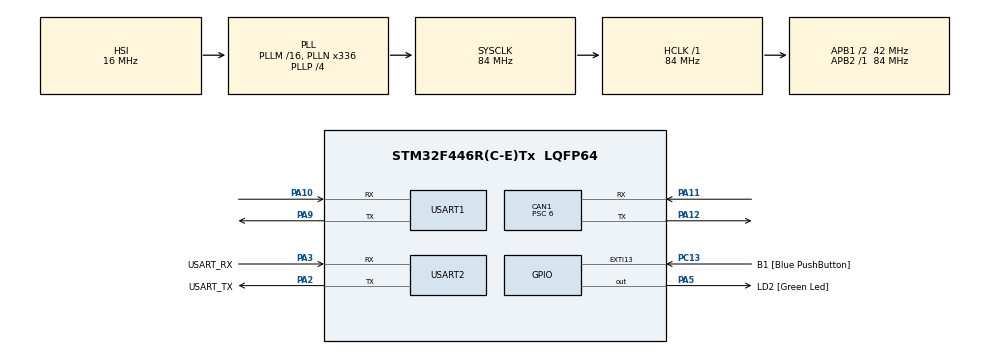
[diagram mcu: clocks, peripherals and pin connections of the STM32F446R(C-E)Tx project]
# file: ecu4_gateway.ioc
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CAN1.ABOM=ENABLE
CAN1.BS1=CAN_BS1_11TQ
CAN1.BS2=CAN_BS2_2TQ
CAN1.CalculateBaudRate=500000
CAN1.CalculateTimeBit=2000
CAN1.CalculateTimeQuantum=142.85714285714286
CAN1.Prescaler=6
Dma.Request0=USART2_TX
Dma.USART2_TX.0.Direction=DMA_MEMORY_TO_PERIPH
Dma.USART2_TX.0.FIFOMode=DMA_FIFOMODE_DISABLE
Dma.USART2_TX.0.Instance=DMA1_Stream6
Dma.USART2_TX.0.MemDataAlignment=DMA_MDATAALIGN_BYTE
Dma.USART2_TX.0.MemInc=DMA_MINC_ENABLE
Dma.USART2_TX.0.Mode=DMA_NORMAL
Dma.USART2_TX.0.PeriphDataAlignment=DMA_PDATAALIGN_BYTE
Dma.USART2_TX.0.PeriphInc=DMA_PINC_DISABLE
Dma.USART2_TX.0.Priority=DMA_PRIORITY_HIGH
FREERTOS.BinarySemaphores01=Sem_UART_Rx,Dynamic,NULL,Available
FREERTOS.Queues01=Queue_CAN_Rx,16,uint16_t,0,Dynamic,NULL,NULL
FREERTOS.Tasks01=Task_CAN_Proces,2,512,Start_Task_Can,Default,NULL,Dynamic,NULL,NULL;Task_UART_Proce,0,128,Start_Task_UART,Default,NULL,Dynamic,NULL,NULL;Task_Heartbeat,-2,128,Start_Task_Heartbeat,Default,NULL,Dynamic,NULL,NULL
Mcu.Family=STM32F4
Mcu.Name=STM32F446R(C-E)Tx
Mcu.Package=LQFP64
NVIC.CAN1_RX0_IRQn=true\:5\:0\:false\:false\:true\:true\:true\:true\:true
NVIC.CAN1_TX_IRQn=true\:5\:0\:false\:false\:true\:true\:true\:true\:true
NVIC.DMA1_Stream6_IRQn=true\:5\:0\:false\:false\:true\:true\:false\:true\:true
NVIC.PriorityGroup=NVIC_PRIORITYGROUP_4
NVIC.USART1_IRQn=true\:5\:0\:false\:false\:true\:true\:true\:true\:true
PA10.Mode=Asynchronous
PA10.Signal=USART1_RX
PA11.Mode=CAN_Activate
PA11.Signal=CAN1_RX
PA12.Mode=CAN_Activate
PA12.Signal=CAN1_TX
PA13.GPIO_Label=TMS
PA13.Mode=Serial_Wire
PA13.Signal=SYS_JTMS-SWDIO
PA14.GPIO_Label=TCK
PA14.Mode=Serial_Wire
PA14.Signal=SYS_JTCK-SWCLK
PA2.GPIO_Label=USART_TX
PA2.Mode=Asynchronous
PA2.Signal=USART2_TX
PA3.GPIO_Label=USART_RX
PA3.Mode=Asynchronous
PA3.Signal=USART2_RX
PA5.GPIO_Label=LD2 [Green Led]
PA5.Signal=GPIO_Output
PA9.Mode=Asynchronous
PA9.Signal=USART1_TX
PB3.GPIO_Label=SWO
PB3.Signal=SYS_JTDO-SWO
PC13.GPIO_Label=B1 [Blue PushButton]
PC13.GPIO_ModeDefaultEXTI=GPIO_MODE_IT_FALLING
PC13.Signal=GPXTI13
PC14-OSC32_IN.Mode=LSE-External-Oscillator
PC14-OSC32_IN.Signal=RCC_OSC32_IN
PC15-OSC32_OUT.Mode=LSE-External-Oscillator
PC15-OSC32_OUT.Signal=RCC_OSC32_OUT
PH0-OSC_IN.Mode=HSE-External-Oscillator
PH0-OSC_IN.Signal=RCC_OSC_IN
PH1-OSC_OUT.Mode=HSE-External-Oscillator
PH1-OSC_OUT.Signal=RCC_OSC_OUT
ProjectManager.HeapSize=0x200
ProjectManager.StackSize=0x400
ProjectManager.TargetToolchain=STM32CubeIDE
RCC.48MHZClocksFreq_Value=84000000
RCC.AHBFreq_Value=84000000
RCC.APB1CLKDivider=RCC_HCLK_DIV2
RCC.APB1Freq_Value=42000000
RCC.APB1TimFreq_Value=84000000
RCC.APB2Freq_Value=84000000
RCC.APB2TimFreq_Value=84000000
RCC.CortexFreq_Value=84000000
RCC.FLatency-AdvancedSettings=FLASH_LATENCY_2
RCC.HCLKFreq_Value=84000000
RCC.HSE_VALUE=8000000
RCC.HSI_VALUE=16000000
RCC.PLLN=336
RCC.PLLP=RCC_PLLP_DIV4
RCC.SYSCLKFreq_VALUE=84000000
RCC.SYSCLKSource=RCC_SYSCLKSOURCE_PLLCLK
RCC.USBFreq_Value=168000000
RCC.VCOOutputFreq_Value=336000000
USART1.VirtualMode=VM_ASYNC
USART2.VirtualMode=VM_ASYNC
VP_FREERTOS_VS_CMSIS_V1.Mode=CMSIS_V1
board=NUCLEO-F446RE

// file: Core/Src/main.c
/* USER CODE BEGIN Header */
/**
 ******************************************************************************
 * @file           : main.c
 * @brief          : Main program body
 ******************************************************************************
 * @attention
 *
 * Copyright (c) 2026 STMicroelectronics.
 * All rights reserved.
 *
 * This software is licensed under terms that can be found in the LICENSE file
 * in the root directory of this software component.
 * If no LICENSE file comes with this software, it is provided AS-IS.
 *
 ******************************************************************************
 */
/* USER CODE END Header */
#include "main.h"
#include "cmsis_os.h"
#include "can.h"
#include "dma.h"
#include "usart.h"
#include "gpio.h"

/* USER CODE BEGIN Includes */
#include <stdio.h>
#include "can_comm.h"
#include "gateway_data.h"
#include "uart_comm.h"
/* USER CODE END Includes */

/* USER CODE BEGIN PV */
extern uint8_t uartRxBuffer[UART_DOWNLINK_PACKET_LEN];
extern osSemaphoreId Sem_UART_RxHandle;

// 구조체 변수를 메모리에 할당(생성)합니다!
GatewayData_t gatewayData;
/* USER CODE END PV */

void SystemClock_Config(void);
void MX_FREERTOS_Init(void);

/* USER CODE BEGIN 0 */
int __io_putchar(int ch) {
    HAL_UART_Transmit(&huart1, (uint8_t *)&ch, 1, 100);
    return ch;
}
/* USER CODE END 0 */

int main(void)
{

  /* MCU Configuration--------------------------------------------------------*/

  /* Reset of all peripherals, Initializes the Flash interface and the Systick. */
  HAL_Init();

  /* Configure the system clock */
  SystemClock_Config();

  /* Initialize all configured peripherals */
  MX_GPIO_Init();
  MX_DMA_Init();
  MX_USART2_UART_Init();
  MX_CAN1_Init();
  MX_USART1_UART_Init();
  /* USER CODE BEGIN 2 */
//  HAL_GPIO_WritePin(GPIOA, GPIO_PIN_5, GPIO_PIN_SET);
//  HAL_Delay(1000);
//  HAL_GPIO_WritePin(GPIOA, GPIO_PIN_5, GPIO_PIN_RESET);
	printf("========================================\r\n");
	  printf("[System] ECU4 Gateway Booting (Direct to Pi)...\r\n");
	  printf("========================================\r\n");

	  CAN_Filter_Config();

	  if (HAL_CAN_Start(&hcan1) == HAL_OK) {
	      printf("[CAN] Start OK\r\n");
	  }

	  // CAN & UART 수신 인터럽트 활성화
	  HAL_CAN_ActivateNotification(&hcan1, CAN_IT_RX_FIFO0_MSG_PENDING);
	  HAL_UART_Receive_IT(&huart2, uartRxBuffer, sizeof(uartRxBuffer));
  /* USER CODE END 2 */

  /* Call init function for freertos objects (in cmsis_os2.c) */
  MX_FREERTOS_Init();

  /* Start scheduler */
  osKernelStart();

  /* We should never get here as control is now taken by the scheduler */

  /* Infinite loop */
	while (1) {

	}
}

void SystemClock_Config(void)
{
  RCC_OscInitTypeDef RCC_OscInitStruct = {0};
  RCC_ClkInitTypeDef RCC_ClkInitStruct = {0};

  /** Configure the main internal regulator output voltage
  */
  __HAL_RCC_PWR_CLK_ENABLE();
  __HAL_PWR_VOLTAGESCALING_CONFIG(PWR_REGULATOR_VOLTAGE_SCALE3);

  /** Initializes the RCC Oscillators according to the specified parameters
  * in the RCC_OscInitTypeDef structure.
  */
  RCC_OscInitStruct.OscillatorType = RCC_OSCILLATORTYPE_HSI;
  RCC_OscInitStruct.HSIState = RCC_HSI_ON;
  RCC_OscInitStruct.HSICalibrationValue = RCC_HSICALIBRATION_DEFAULT;
  RCC_OscInitStruct.PLL.PLLState = RCC_PLL_ON;
  RCC_OscInitStruct.PLL.PLLSource = RCC_PLLSOURCE_HSI;
  RCC_OscInitStruct.PLL.PLLM = 16;
  RCC_OscInitStruct.PLL.PLLN = 336;
  RCC_OscInitStruct.PLL.PLLP = RCC_PLLP_DIV4;
  RCC_OscInitStruct.PLL.PLLQ = 2;
  RCC_OscInitStruct.PLL.PLLR = 2;
  if (HAL_RCC_OscConfig(&RCC_OscInitStruct) != HAL_OK)
  {
    Error_Handler();
  }

  /** Initializes the CPU, AHB and APB buses clocks
  */
  RCC_ClkInitStruct.ClockType = RCC_CLOCKTYPE_HCLK|RCC_CLOCKTYPE_SYSCLK
                              |RCC_CLOCKTYPE_PCLK1|RCC_CLOCKTYPE_PCLK2;
  RCC_ClkInitStruct.SYSCLKSource = RCC_SYSCLKSOURCE_PLLCLK;
  RCC_ClkInitStruct.AHBCLKDivider = RCC_SYSCLK_DIV1;
  RCC_ClkInitStruct.APB1CLKDivider = RCC_HCLK_DIV2;
  RCC_ClkInitStruct.APB2CLKDivider = RCC_HCLK_DIV1;

  if (HAL_RCC_ClockConfig(&RCC_ClkInitStruct, FLASH_LATENCY_2) != HAL_OK)
  {
    Error_Handler();
  }
}

/* USER CODE BEGIN 4 */
// UART(라즈베리파이) 명령 수신 시 Semaphore 신호 전송
void HAL_UART_RxCpltCallback(UART_HandleTypeDef *huart)
{
    if (huart->Instance == USART2) {
        osSemaphoreRelease(Sem_UART_RxHandle);
    }
}
/* USER CODE END 4 */

void Error_Handler(void)
{
	__disable_irq();
	while (1) {
	}
}

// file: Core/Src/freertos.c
/* USER CODE BEGIN Header */
/**
  ******************************************************************************
  * File Name          : freertos.c
  * Description        : Code for freertos applications
  ******************************************************************************
  * @attention
  *
  * Copyright (c) 2026 STMicroelectronics.
  * All rights reserved.
  *
  * This software is licensed under terms that can be found in the LICENSE file
  * in the root directory of this software component.
  * If no LICENSE file comes with this software, it is provided AS-IS.
  *
  ******************************************************************************
  */
/* USER CODE END Header */

#include "FreeRTOS.h"
#include "task.h"
#include "main.h"
#include "cmsis_os.h"

/* USER CODE BEGIN Includes */
#include "can_comm.h"
#include "uart_comm.h"
#include "heartbeat.h"
#include "semphr.h"
#include <stdio.h>
/* USER CODE END Includes */

/* USER CODE BEGIN Variables */
SemaphoreHandle_t gatewayDataMutex = NULL;

extern CAN_HandleTypeDef hcan1;
extern UART_HandleTypeDef huart2;
extern uint8_t uartRxBuffer[UART_DOWNLINK_PACKET_LEN];

/* USER CODE END Variables */
osThreadId Task_CAN_ProcesHandle;
osThreadId Task_UART_ProceHandle;
osThreadId Task_HeartbeatHandle;
osMessageQId Queue_CAN_RxHandle;
osSemaphoreId Sem_UART_RxHandle;

void Start_Task_Can(void const * argument);
void Start_Task_UART(void const * argument);
void Start_Task_Heartbeat(void const * argument);

void MX_FREERTOS_Init(void); /* (MISRA C 2004 rule 8.1) */

/* GetIdleTaskMemory prototype (linked to static allocation support) */
void vApplicationGetIdleTaskMemory( StaticTask_t **ppxIdleTaskTCBBuffer, StackType_t **ppxIdleTaskStackBuffer, uint32_t *pulIdleTaskStackSize );

/* USER CODE BEGIN GET_IDLE_TASK_MEMORY */
static StaticTask_t xIdleTaskTCBBuffer;
static StackType_t xIdleStack[configMINIMAL_STACK_SIZE];

void vApplicationGetIdleTaskMemory( StaticTask_t **ppxIdleTaskTCBBuffer, StackType_t **ppxIdleTaskStackBuffer, uint32_t *pulIdleTaskStackSize )
{
  *ppxIdleTaskTCBBuffer = &xIdleTaskTCBBuffer;
  *ppxIdleTaskStackBuffer = &xIdleStack[0];
  *pulIdleTaskStackSize = configMINIMAL_STACK_SIZE;
  /* place for user code */
}
/* USER CODE END GET_IDLE_TASK_MEMORY */

void MX_FREERTOS_Init(void) {

  /* USER CODE BEGIN RTOS_MUTEX */
	gatewayDataMutex = xSemaphoreCreateMutex();
	if (gatewayDataMutex == NULL)
	{
	    Error_Handler();
	}
  /* USER CODE END RTOS_MUTEX */

  /* Create the semaphores(s) */
  /* definition and creation of Sem_UART_Rx */
  osSemaphoreDef(Sem_UART_Rx);
  Sem_UART_RxHandle = osSemaphoreCreate(osSemaphore(Sem_UART_Rx), 0); // 수정 :0에서 1로 바꿈

  /* Create the queue(s) */
  /* definition and creation of Queue_CAN_Rx */
  osMessageQDef(Queue_CAN_Rx, 16, uint16_t);
  Queue_CAN_RxHandle = osMessageCreate(osMessageQ(Queue_CAN_Rx), NULL);

  /* Create the thread(s) */
  /* definition and creation of Task_CAN_Proces */
  osThreadDef(Task_CAN_Proces, Start_Task_Can, osPriorityHigh, 0, 512);
  Task_CAN_ProcesHandle = osThreadCreate(osThread(Task_CAN_Proces), NULL);

  /* definition and creation of Task_UART_Proce */
  osThreadDef(Task_UART_Proce, Start_Task_UART, osPriorityNormal, 0, 128);
  Task_UART_ProceHandle = osThreadCreate(osThread(Task_UART_Proce), NULL);

  /* definition and creation of Task_Heartbeat */
  osThreadDef(Task_Heartbeat, Start_Task_Heartbeat, osPriorityLow, 0, 128);
  Task_HeartbeatHandle = osThreadCreate(osThread(Task_Heartbeat), NULL);

}

void Start_Task_Can(void const * argument)
{
  /* USER CODE BEGIN Start_Task_Can */
    if (HAL_CAN_Start(&hcan1) == HAL_OK) {
        printf("[CAN] Start OK\r\n");
    }

    for (;;)
    {
        if (HAL_CAN_GetRxFifoFillLevel(&hcan1, CAN_RX_FIFO0) > 0) {
            CAN_ProcessRxMessage();
        }
        osDelay(10);
    }
  /* USER CODE END Start_Task_Can */
}

void Start_Task_UART(void const * argument)
{
  /* USER CODE BEGIN Start_Task_UART */
    // ⭐️ [추가] 라즈베리파이 수신 초인종도 이 타이밍에 켭니다.
    HAL_UART_Receive_IT(&huart2, uartRxBuffer, UART_DOWNLINK_PACKET_LEN);

   for(;;)
   {
       // 2s마다 업링크 JSON, 그 사이 Pi OTA/제어 8바이트 수신 시 CAN 0x400 중계
       if(osSemaphoreWait(Sem_UART_RxHandle, 2000) == osOK) {
           UART_OnPacket();
       } else {
           UART_SendGatewayData();
       }

        for(;;)
        {
            // 2s마다 업링크 JSON, 그 사이 Pi OTA/제어 8바이트 수신 시 CAN 0x400 중계
        	UART_SendGatewayData();
        	osDelay(1000);
        }
  /* USER CODE END Start_Task_UART */
}

void Start_Task_Heartbeat(void const * argument)
{
  /* USER CODE BEGIN Start_Task_Heartbeat */

  /* Infinite loop */
//	for(;;)
//	  {
////	    Heartbeat_CheckTimeout();
////	    CAN_SendHeartbeat();
////	    osDelay(1000);
//		char dbg[] = "Heartbeat Task\r\n";
//
//		    HAL_UART_Transmit(&huart2,
//		                      (uint8_t *)dbg,
//		                      sizeof(dbg) - 1,
//		                      100);
//
//		    Heartbeat_CheckTimeout();
//
//		    CAN_SendHeartbeat();
//
//		    osDelay(1000);
//	  }
	for (;;)
	{
		printf("Heartbeat Loop\r\n");
	    CAN_SendHeartbeat();
	    Heartbeat_CheckTimeout();

//		HAL_UART_Transmit(
//		            &huart2,
//		            (uint8_t*)"HB_TASK\r\n",
//		            9,
//		            100);
		HAL_GPIO_TogglePin(GPIOA, GPIO_PIN_5);
	    osDelay(1000);
	}
  /* USER CODE END Start_Task_Heartbeat */
}
